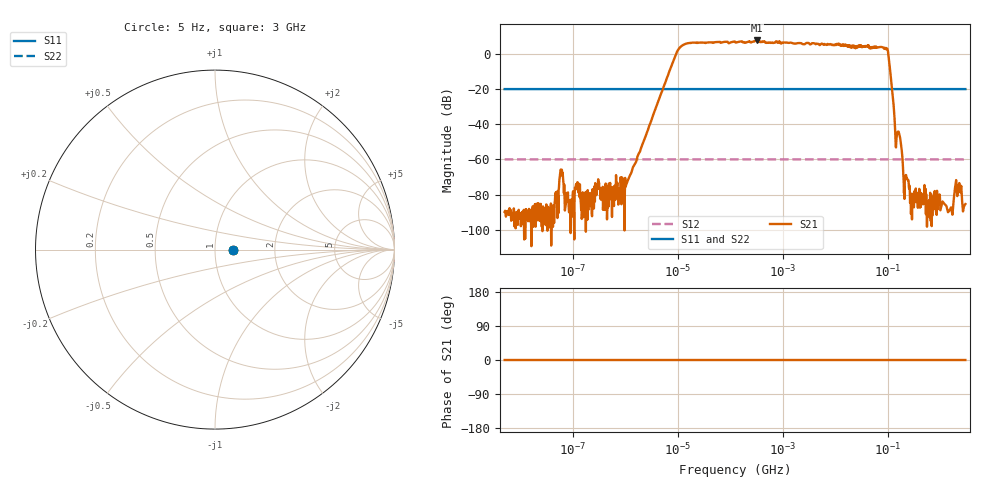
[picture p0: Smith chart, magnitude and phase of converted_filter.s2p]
! S2P file converted from CSV (duplicates averaged)
! Original file: /content/CalInput_to_CH2FanOutChassis.xlsx - CalInput_to_CH2FanOutChassis.csv
# MHz S MA R 50
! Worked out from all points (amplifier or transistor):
!   1338 points, 5 Hz to 3 GHz, reference 50 ohm
!   highest |S21| = 7.7 dB at 316.9 kHz (marker M1)
!   |S21| within 3 dB of that: 11.96 kHz to 12.68 MHz (12.67 MHz wide, 200 % of centre)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
!   unconditionally stable (mu >= 1): start of sweep to end of sweep
!   at 91.5 Hz: K = 13466056.62, MAG = -88.7 dB, |S12| = -60.0 dB
!   at 84.4 kHz: K = 220.15, MAG = 7.0 dB, |S12| = -60.0 dB
!   at 3 GHz: K = 9167277.12, MAG = -85.4 dB, |S12| = -60.0 dB
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5e-06  0.1 0.0  3.181e-05 0.0  0.001 0.0  0.1 0.0
4.86e-05  0.1 0.0  0.0001161 0.0  0.001 0.0  0.1 0.0
6.02e-05  0.1 0.0  0.000492 0.0  0.001 0.0  0.1 0.0
7.54e-05  0.1 0.0  0.0001108 0.0  0.001 0.0  0.1 0.0
0.0001456  0.1 0.0  8.74e-05 0.0  0.001 0.0  0.1 0.0
0.0007824  0.1 0.0  0.0001393 0.0  0.001 0.0  0.1 0.0
0.0016  0.1 0.0  0.0008511 0.0  0.001 0.0  0.1 0.0
0.0043  0.1 0.0  0.04831 0.0  0.001 0.0  0.1 0.0
0.0073  0.1 0.0  0.4046 0.0  0.001 0.0  0.1 0.0
0.015  0.1 0.0  2.002 0.0  0.001 0.0  0.1 0.0
0.1225  0.1 0.0  2.252 0.0  0.001 0.0  0.1 0.0
0.3169  0.1 0.0  2.418 0.0  0.001 0.0  0.1 0.0
3.6  0.1 0.0  2.023 0.0  0.001 0.0  0.1 0.0
76.7  0.1 0.0  1.57 0.0  0.001 0.0  0.1 0.0
92.8  0.1 0.0  1.358 0.0  0.001 0.0  0.1 0.0
104  0.1 0.0  0.7647 0.0  0.001 0.0  0.1 0.0
116.7  0.1 0.0  0.1607 0.0  0.001 0.0  0.1 0.0
142.7  0.1 0.0  0.002185 0.0  0.001 0.0  0.1 0.0
171.7  0.1 0.0  0.004027 0.0  0.001 0.0  0.1 0.0
207.5  0.1 0.0  7.499e-05 0.0  0.001 0.0  0.1 0.0
281.7  0.1 0.0  6.288e-05 0.0  0.001 0.0  0.1 0.0
3000  0.1 0.0  5.346e-05 0.0  0.001 0.0  0.1 0.0
